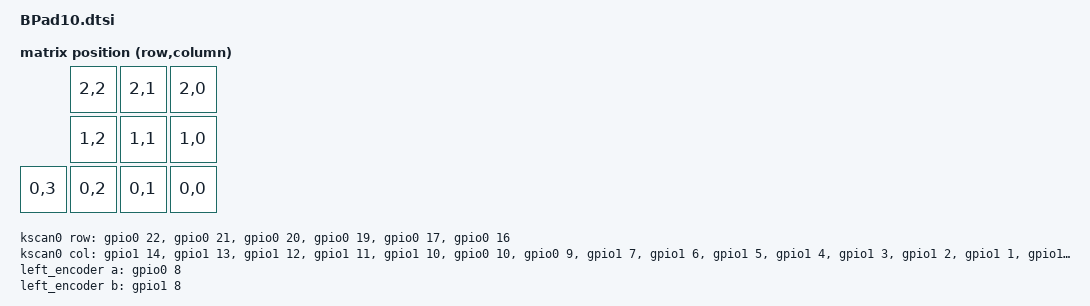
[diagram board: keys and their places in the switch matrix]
#include <dt-bindings/zmk/matrix_transform.h>

/ {
    chosen {
		zmk,kscan = &kscan0;
		zmk,matrix_transform = &default_transform;
		zephyr,display = &lcd0;
		zephyr,console = &uart0;
		zephyr,shell-uart = &uart0;
		zephyr,uart-mcumgr = &uart0;
		zephyr,bt-mon-uart = &uart0;
		zephyr,bt-c2h-uart = &uart0;
    };
	default_transform: keymap_transform_0 {
		compatible = "zmk,matrix-transform";
		columns = <21>;
		rows = <6>;

		map = <
				     RC(2,2)  RC(2,1)  RC(2,0)  
					 RC(1,2)  RC(1,1)  RC(1,0)  
			RC(0,3)  RC(0,2)  RC(0,1)  RC(0,0)
		>;
	};

    kscan0: kscan_0 {
        compatible = "zmk,kscan-gpio-matrix";
        label = "KSCAN";
		diode-direction = "col2row";
        row-gpios
			= <&gpio0 22 (GPIO_ACTIVE_HIGH | GPIO_PULL_DOWN)>
			, <&gpio0 21 (GPIO_ACTIVE_HIGH | GPIO_PULL_DOWN)>
			, <&gpio0 20 (GPIO_ACTIVE_HIGH | GPIO_PULL_DOWN)>
			, <&gpio0 19 (GPIO_ACTIVE_HIGH | GPIO_PULL_DOWN)>
			, <&gpio0 17 (GPIO_ACTIVE_HIGH | GPIO_PULL_DOWN)>
			, <&gpio0 16 (GPIO_ACTIVE_HIGH | GPIO_PULL_DOWN)>
			;
		col-gpios
			= <&gpio1 14 GPIO_ACTIVE_HIGH>
			, <&gpio1 13 GPIO_ACTIVE_HIGH>
			, <&gpio1 12 GPIO_ACTIVE_HIGH>
			, <&gpio1 11 GPIO_ACTIVE_HIGH>
			, <&gpio1 10 GPIO_ACTIVE_HIGH>
			, <&gpio0 10 GPIO_ACTIVE_HIGH>
			, <&gpio0 9  GPIO_ACTIVE_HIGH>
			, <&gpio1 7  GPIO_ACTIVE_HIGH>
			, <&gpio1 6  GPIO_ACTIVE_HIGH>
			, <&gpio1 5  GPIO_ACTIVE_HIGH>
			, <&gpio1 4  GPIO_ACTIVE_HIGH>
			, <&gpio1 3  GPIO_ACTIVE_HIGH>
			, <&gpio1 2  GPIO_ACTIVE_HIGH>
			, <&gpio1 1  GPIO_ACTIVE_HIGH>
			, <&gpio1 0  GPIO_ACTIVE_HIGH>
			, <&gpio0 25 GPIO_ACTIVE_HIGH>
			, <&gpio0 24 GPIO_ACTIVE_HIGH>
			, <&gpio0 23 GPIO_ACTIVE_HIGH>
			, <&gpio0 13 GPIO_ACTIVE_HIGH>
			, <&gpio0 14 GPIO_ACTIVE_HIGH>
			, <&gpio0 15 GPIO_ACTIVE_HIGH>
			;
    };

	left_encoder:encoder_left {
		compatible = "alps,ec11";
		label = "LEFT_ENCODER";
		a-gpios = <&gpio0 8 (GPIO_ACTIVE_HIGH | GPIO_PULL_UP)>;
	    b-gpios = <&gpio1 8 (GPIO_ACTIVE_HIGH | GPIO_PULL_UP)>;
	    resolution = <4>;
	};
	sensors {
	    compatible = "zmk,keymap-sensors";
	    sensors = <&left_encoder>;
	};
};

// &i2c0 {
// 	status = "okay";

// 	oled: ssd1306@3c {
// 		compatible = "solomon,ssd1306fb";
// 		reg = <0x3c>;
// 		label = "DISPLAY";
// 		width = <128>;
// 		height = <32>;
// 		segment-offset = <0>;
// 		page-offset = <0>;
// 		display-offset = <0>;
// 		multiplex-ratio = <31>;
// 		segment-remap;
// 		com-invdir;
// 		com-sequential;
// 		prechargep = <0x22>;
// 	};
// };

